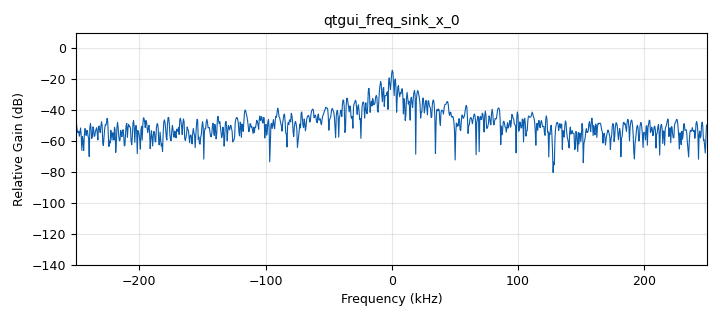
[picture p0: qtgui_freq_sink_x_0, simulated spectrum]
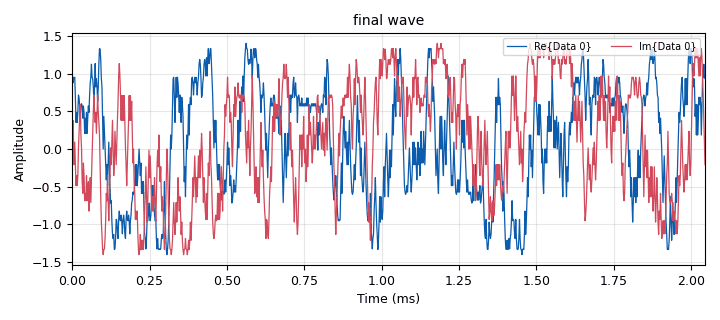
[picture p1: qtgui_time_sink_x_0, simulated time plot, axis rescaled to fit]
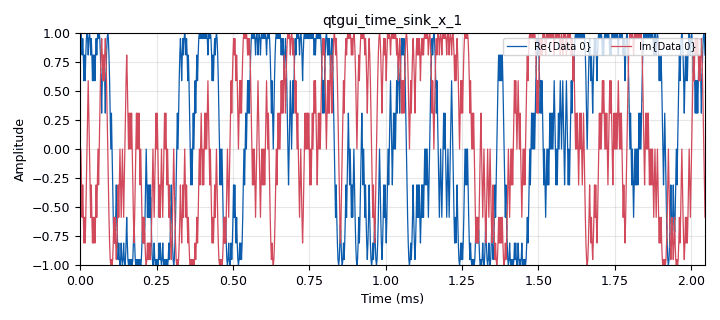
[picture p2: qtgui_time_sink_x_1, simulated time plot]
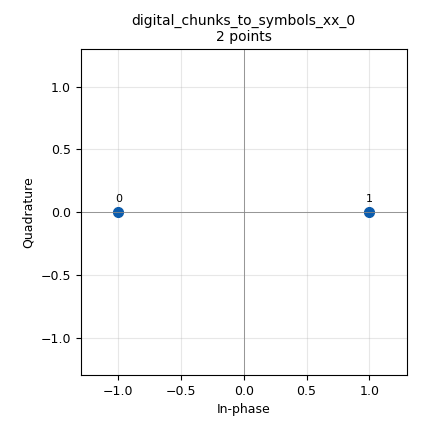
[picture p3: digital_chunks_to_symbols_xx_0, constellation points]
options:
  parameters:
    author: tharunkumar
    generate_options: qt_gui
    id: top_block
    output_language: python
    title: FSK GPR Simulation
  states: {}

blocks:
- name: freq_dev
  id: variable
  parameters:
    value: '25000'
  states: {}
- name: samp_rate
  id: variable
  parameters:
    value: '500000'
  states: {}
- name: sym_rate
  id: variable
  parameters:
    value: '10000'
  states: {}
- name: analog_frequency_modulator_fc_0
  id: analog_frequency_modulator_fc
  parameters:
    sensitivity: 2*numpy.pi*freq_dev/samp_rate
  states: {}
- name: analog_random_source_x_0
  id: analog_random_source_x
  parameters:
    max: '2'
    min: '0'
    num_samps: '100000'
    repeat: 'False'
    type: byte
  states: {}
- name: blocks_add_xx_0
  id: blocks_add_xx
  parameters:
    type: complex
  states: {}
- name: blocks_delay_0
  id: blocks_delay
  parameters:
    delay: '250'
    type: complex
  states: {}
- name: blocks_file_sink_0
  id: blocks_file_sink
  parameters:
    file: C:\Users\tharunkumar\Desktop\FSK_GPR\gr_samples_stage35.dat
    type: complex
  states: {}
- name: blocks_file_sink_1
  id: blocks_file_sink
  parameters:
    file: C:\Users\tharunkumar\Desktop\FSK_GPR\reference_stage35.dat
    type: complex
  states: {}
- name: blocks_file_sink_2
  id: blocks_file_sink
  parameters:
    file: C:\Users\tharunkumar\Desktop\FSK_GPR\received_stage35.dat
    type: complex
  states: {}
- name: blocks_multiply_const_vxx_0
  id: blocks_multiply_const_vxx
  parameters:
    const: '0.4'
    type: complex
  states: {}
- name: digital_chunks_to_symbols_xx_0
  id: digital_chunks_to_symbols_xx
  parameters:
    dimension: '1'
    in_type: byte
    out_type: float
    symbol_table: '[-1.0, 1.0]'
  states: {}
- name: import_0
  id: import
  parameters:
    imports: import numpy
  states: {}
- name: qtgui_freq_sink_x_0
  id: qtgui_freq_sink_x
  parameters:
    bw: samp_rate
    fc: '0'
    fftsize: '1024'
    type: complex
  states: {}
- name: qtgui_time_sink_x_0
  id: qtgui_time_sink_x
  parameters:
    name: final wave
    size: '1024'
    srate: samp_rate
    type: complex
  states: {}
- name: qtgui_time_sink_x_1
  id: qtgui_time_sink_x
  parameters:
    size: '1024'
    srate: samp_rate
    type: complex
  states: {}

connections:
- [analog_frequency_modulator_fc_0, '0', blocks_add_xx_0, '0']
- [analog_frequency_modulator_fc_0, '0', blocks_delay_0, '0']
- [analog_frequency_modulator_fc_0, '0', blocks_file_sink_1, '0']
- [analog_frequency_modulator_fc_0, '0', qtgui_freq_sink_x_0, '0']
- [analog_frequency_modulator_fc_0, '0', qtgui_time_sink_x_1, '0']
- [analog_random_source_x_0, '0', digital_chunks_to_symbols_xx_0, '0']
- [blocks_add_xx_0, '0', blocks_file_sink_0, '0']
- [blocks_add_xx_0, '0', blocks_file_sink_2, '0']
- [blocks_add_xx_0, '0', qtgui_time_sink_x_0, '0']
- [blocks_delay_0, '0', blocks_multiply_const_vxx_0, '0']
- [blocks_multiply_const_vxx_0, '0', blocks_add_xx_0, '1']
- [digital_chunks_to_symbols_xx_0, '0', analog_frequency_modulator_fc_0, '0']

metadata:
  file_format: 1
  grc_version: 3.10.12.0
